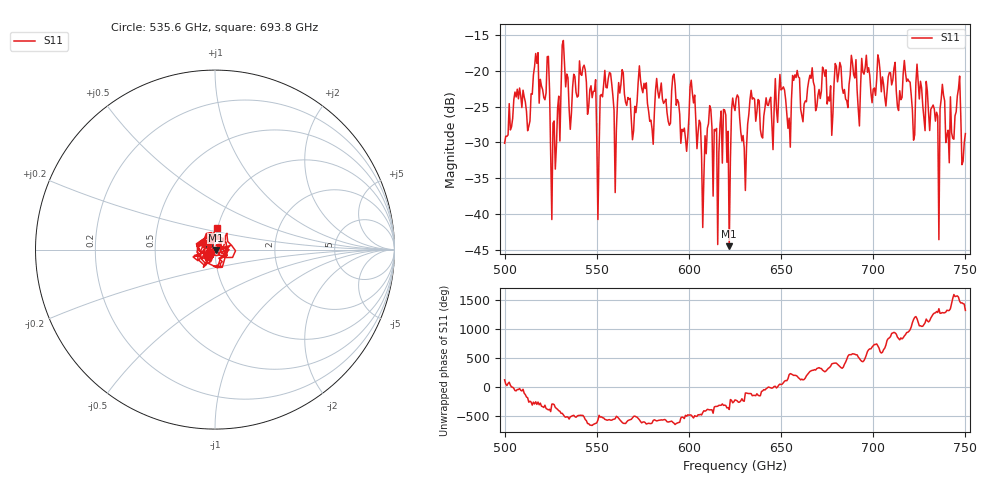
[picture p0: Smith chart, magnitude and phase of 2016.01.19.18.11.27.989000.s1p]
!Created with skrf (http://scikit-rf.org).
# GHz S RI R 50.0
!freq ReS11 ImS11
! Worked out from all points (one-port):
!   401 points, 500 GHz to 750 GHz, reference 50 ohm
!   lowest |S11| = -44.5 dB at 621.9 GHz (marker M1), VSWR 1.01, Z = 50.6 - j0.223 ohm
!   |S11| at or under -10 dB: start of sweep to end of sweep
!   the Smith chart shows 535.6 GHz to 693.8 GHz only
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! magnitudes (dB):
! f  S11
! 500 GHz  -30.1
! 506.9 GHz  -22.6
! 513.1 GHz  -27.7
! 516.9 GHz  -17.6
! 523.1 GHz  -18.0
! 526.2 GHz  -27.3
! 531.2 GHz  -16.4
! 543.1 GHz  -19.2
! 551.2 GHz  -31.2
! 553.1 GHz  -23.6
! 560 GHz  -37.0
! 562.5 GHz  -23.1
! 593.8 GHz  -24.0
! 598.1 GHz  -29.4
! 601.9 GHz  -23.1
! 608.1 GHz  -34.8
! 611.2 GHz  -24.9
! 614.4 GHz  -28.4
! 621.9 GHz  -44.5
! 625 GHz  -25.5
! 630 GHz  -30.7
! 634.4 GHz  -23.9
! 656.2 GHz  -20.6
! 687.5 GHz  -20.6
! 718.8 GHz  -21.1
! 734.4 GHz  -25.8
! 746.2 GHz  -22.5
! 750 GHz  -28.8
